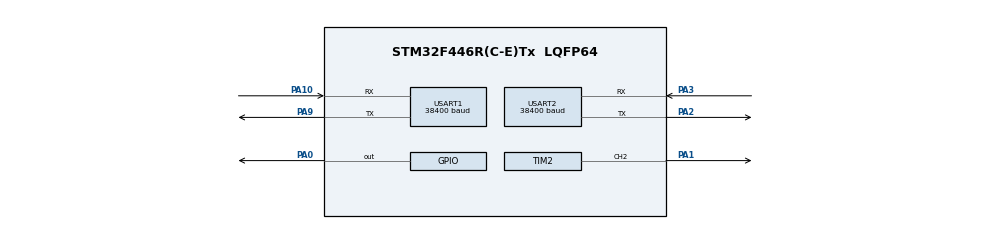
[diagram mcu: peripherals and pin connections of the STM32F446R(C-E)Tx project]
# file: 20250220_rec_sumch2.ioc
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Mcu.Family=STM32F4
Mcu.Name=STM32F446R(C-E)Tx
Mcu.Package=LQFP64
NVIC.PriorityGroup=NVIC_PRIORITYGROUP_4
PA0-WKUP.Signal=GPIO_Output
PA1.Signal=S_TIM2_CH2
PA10.Mode=Asynchronous
PA10.Signal=USART1_RX
PA2.Mode=Asynchronous
PA2.Signal=USART2_TX
PA3.Mode=Asynchronous
PA3.Signal=USART2_RX
PA9.Mode=Asynchronous
PA9.Signal=USART1_TX
ProjectManager.HeapSize=0x200
ProjectManager.StackSize=0x400
ProjectManager.TargetToolchain=STM32CubeIDE
RCC.CortexFreq_Value=16000000
RCC.USBFreq_Value=96000000
RCC.VCOOutputFreq_Value=192000000
SH.S_TIM2_CH2.0=TIM2_CH2,PWM Generation2 CH2
TIM2.Channel-PWM\ Generation2\ CH2=TIM_CHANNEL_2
TIM2.OC2Preload_PWM=DISABLE
TIM2.Period=999
TIM2.Prescaler=83
USART1.BaudRate=38400
USART1.Mode=MODE_RX
USART1.VirtualMode=VM_ASYNC
USART2.BaudRate=38400
USART2.VirtualMode=VM_ASYNC
board=custom

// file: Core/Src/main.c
/* USER CODE BEGIN Header */
/**
  ******************************************************************************
  * @file           : main.c
  * @brief          : Main program body
  ******************************************************************************
  * @attention
  *
  * Copyright (c) 2025 STMicroelectronics.
  * All rights reserved.
  *
  * This software is licensed under terms that can be found in the LICENSE file
  * in the root directory of this software component.
  * If no LICENSE file comes with this software, it is provided AS-IS.
  *
  ******************************************************************************
  */
/* USER CODE END Header */
#include "main.h"

/* USER CODE BEGIN Includes */
#include <stdio.h>

/* USER CODE END Includes */

TIM_HandleTypeDef htim2;

UART_HandleTypeDef huart1;
UART_HandleTypeDef huart2;

void SystemClock_Config(void);
static void MX_GPIO_Init(void);
static void MX_USART2_UART_Init(void);
static void MX_USART1_UART_Init(void);
static void MX_TIM2_Init(void);

/* USER CODE BEGIN 0 */
#define REV_SIZE 11
#define WAIT 10
#define TIMEOUT_MAX 10
/* USER CODE END 0 */

int main(void)
{

  /* USER CODE BEGIN 1 */
	setbuf(stdout,NULL);

  /* USER CODE END 1 */

  /* MCU Configuration--------------------------------------------------------*/

  /* Reset of all peripherals, Initializes the Flash interface and the Systick. */
  HAL_Init();

  /* Configure the system clock */
  SystemClock_Config();

  /* Initialize all configured peripherals */
  MX_GPIO_Init();
  MX_USART2_UART_Init();
  MX_USART1_UART_Init();
  MX_TIM2_Init();
  /* USER CODE BEGIN 2 */
  unsigned char revdata[REV_SIZE] = {},usedata[REV_SIZE] = {};
  unsigned char getdata,revsum;
  int timeout = 0;
  HAL_StatusTypeDef status;

  /* USER CODE END 2 */

  /* Infinite loop */
  /* USER CODE BEGIN WHILE */
  while (1)
  {
	  HAL_TIM_PWM_Start(&htim2, TIM_CHANNEL_2);
    /* USER CODE END WHILE */

    /* USER CODE BEGIN 3 */
//	  HAL_UART_GetState(huart);
	  status = HAL_UART_Receive(&huart1, &getdata, 1, WAIT);
	  if(status == HAL_OK){
		  if(getdata == 0xAF){
			  revdata[0] = getdata;
//			  status = HAL_UART_Receive(&huart1, revdata+1, 10, WAIT * 10);
			  for(int i = 1;i < REV_SIZE;i++){
				  status = HAL_UART_Receive(&huart1, &getdata, 1, WAIT);
				  if(status == HAL_OK){
					  revdata[i] = getdata;
				  }else {
					  i--;
				  }
			  }
			  if(status == HAL_OK){
				  if(revdata[10] == 0xED){
					  revsum = 0x00;
					  for(int i = 1;i < REV_SIZE -2;i++){
						  revsum += (int)revdata[i];
//						  printf("%2d-%02x ",i,revdata[i]);
					  }
					  if(revdata[9] == revsum){
						  for(int i = 0;i < REV_SIZE;i++){
							  printf("%2d:%02x ",i,revdata[i]);
							  usedata[i] = revdata[i];
						  }
					  }else {
//						  for(int i = 0;i < REV_SIZE;i++){
//							  printf("%2d:%02x ",i,revdata[i]);
//						  }
						  printf("sum is not true %02x",revsum);
					  }
				  }else {
					  for(int i = 0;i < REV_SIZE;i++){
						  printf("%2d:%02x ",i,revdata[i]);
					  }
					  printf("not END");
				  }
			  }else if(status == HAL_TIMEOUT){
//				  printf("not HAL_OK");
				  printf("timeout");
			  }else {
				  printf("not HAL_OK");
			  }

			  printf("\r\n");
		  }else {
			  printf("not af\r\n");
		  }
	  }else /*if(status == HAL_TIMEOUT)*/{
		  HAL_GPIO_TogglePin(GPIOA, GPIO_PIN_0);
		  timeout++;
		  if(timeout >= TIMEOUT_MAX){
//			  for(int i = 0;i < REV_SIZE;i++){
//				  printf("%2d:%02x ",i,revdata[i]);
//			  }
			  printf("timeout  %2d\r\n",timeout);
			  timeout = 0;
		  }
	  }
	  memset(revdata,0x00,sizeof(revdata));
	  HAL_UART_Abort(&huart1);
//	  if ( __HAL_UART_GET_FLAG(&huart1, UART_FLAG_ORE) ){
	      __HAL_UART_CLEAR_FLAG(&huart1,UART_FLAG_RXNE |UART_FLAG_ORE);
//	  }
	      __HAL_TIM_SET_COMPARE(&htim2,TIM_CHANNEL_2,usedata[1]);
  }
  /* USER CODE END 3 */
}

void SystemClock_Config(void)
{
  RCC_OscInitTypeDef RCC_OscInitStruct = {0};
  RCC_ClkInitTypeDef RCC_ClkInitStruct = {0};

  /** Configure the main internal regulator output voltage
  */
  __HAL_RCC_PWR_CLK_ENABLE();
  __HAL_PWR_VOLTAGESCALING_CONFIG(PWR_REGULATOR_VOLTAGE_SCALE3);

  /** Initializes the RCC Oscillators according to the specified parameters
  * in the RCC_OscInitTypeDef structure.
  */
  RCC_OscInitStruct.OscillatorType = RCC_OSCILLATORTYPE_HSI;
  RCC_OscInitStruct.HSIState = RCC_HSI_ON;
  RCC_OscInitStruct.HSICalibrationValue = RCC_HSICALIBRATION_DEFAULT;
  RCC_OscInitStruct.PLL.PLLState = RCC_PLL_NONE;
  if (HAL_RCC_OscConfig(&RCC_OscInitStruct) != HAL_OK)
  {
    Error_Handler();
  }

  /** Initializes the CPU, AHB and APB buses clocks
  */
  RCC_ClkInitStruct.ClockType = RCC_CLOCKTYPE_HCLK|RCC_CLOCKTYPE_SYSCLK
                              |RCC_CLOCKTYPE_PCLK1|RCC_CLOCKTYPE_PCLK2;
  RCC_ClkInitStruct.SYSCLKSource = RCC_SYSCLKSOURCE_HSI;
  RCC_ClkInitStruct.AHBCLKDivider = RCC_SYSCLK_DIV1;
  RCC_ClkInitStruct.APB1CLKDivider = RCC_HCLK_DIV1;
  RCC_ClkInitStruct.APB2CLKDivider = RCC_HCLK_DIV1;

  if (HAL_RCC_ClockConfig(&RCC_ClkInitStruct, FLASH_LATENCY_0) != HAL_OK)
  {
    Error_Handler();
  }
}

static void MX_TIM2_Init(void)
{

  TIM_MasterConfigTypeDef sMasterConfig = {0};
  TIM_OC_InitTypeDef sConfigOC = {0};

  htim2.Instance = TIM2;
  htim2.Init.Prescaler = 83;
  htim2.Init.CounterMode = TIM_COUNTERMODE_UP;
  htim2.Init.Period = 999;
  htim2.Init.ClockDivision = TIM_CLOCKDIVISION_DIV1;
  htim2.Init.AutoReloadPreload = TIM_AUTORELOAD_PRELOAD_DISABLE;
  if (HAL_TIM_PWM_Init(&htim2) != HAL_OK)
  {
    Error_Handler();
  }
  sMasterConfig.MasterOutputTrigger = TIM_TRGO_RESET;
  sMasterConfig.MasterSlaveMode = TIM_MASTERSLAVEMODE_DISABLE;
  if (HAL_TIMEx_MasterConfigSynchronization(&htim2, &sMasterConfig) != HAL_OK)
  {
    Error_Handler();
  }
  sConfigOC.OCMode = TIM_OCMODE_PWM1;
  sConfigOC.Pulse = 0;
  sConfigOC.OCPolarity = TIM_OCPOLARITY_HIGH;
  sConfigOC.OCFastMode = TIM_OCFAST_DISABLE;
  if (HAL_TIM_PWM_ConfigChannel(&htim2, &sConfigOC, TIM_CHANNEL_2) != HAL_OK)
  {
    Error_Handler();
  }
  __HAL_TIM_DISABLE_OCxPRELOAD(&htim2, TIM_CHANNEL_2);
  HAL_TIM_MspPostInit(&htim2);

}

static void MX_USART1_UART_Init(void)
{

  huart1.Instance = USART1;
  huart1.Init.BaudRate = 38400;
  huart1.Init.WordLength = UART_WORDLENGTH_8B;
  huart1.Init.StopBits = UART_STOPBITS_1;
  huart1.Init.Parity = UART_PARITY_NONE;
  huart1.Init.Mode = UART_MODE_RX;
  huart1.Init.HwFlowCtl = UART_HWCONTROL_NONE;
  huart1.Init.OverSampling = UART_OVERSAMPLING_16;
  if (HAL_UART_Init(&huart1) != HAL_OK)
  {
    Error_Handler();
  }

}

static void MX_USART2_UART_Init(void)
{

  huart2.Instance = USART2;
  huart2.Init.BaudRate = 38400;
  huart2.Init.WordLength = UART_WORDLENGTH_8B;
  huart2.Init.StopBits = UART_STOPBITS_1;
  huart2.Init.Parity = UART_PARITY_NONE;
  huart2.Init.Mode = UART_MODE_TX_RX;
  huart2.Init.HwFlowCtl = UART_HWCONTROL_NONE;
  huart2.Init.OverSampling = UART_OVERSAMPLING_16;
  if (HAL_UART_Init(&huart2) != HAL_OK)
  {
    Error_Handler();
  }

}

static void MX_GPIO_Init(void)
{
  GPIO_InitTypeDef GPIO_InitStruct = {0};

  /* GPIO Ports Clock Enable */
  __HAL_RCC_GPIOA_CLK_ENABLE();

  /*Configure GPIO pin Output Level */
  HAL_GPIO_WritePin(GPIOA, GPIO_PIN_0, GPIO_PIN_RESET);

  /*Configure GPIO pin : PA0 */
  GPIO_InitStruct.Pin = GPIO_PIN_0;
  GPIO_InitStruct.Mode = GPIO_MODE_OUTPUT_PP;
  GPIO_InitStruct.Pull = GPIO_NOPULL;
  GPIO_InitStruct.Speed = GPIO_SPEED_FREQ_LOW;
  HAL_GPIO_Init(GPIOA, &GPIO_InitStruct);

}

/* USER CODE BEGIN 4 */
int _write(int file,char *ptr,int len){
	HAL_UART_Transmit(&huart2, (uint8_t *)ptr, len, WAIT);
	return len;
}

/* USER CODE END 4 */

void Error_Handler(void)
{
  __disable_irq();
  while (1)
  {
  }
}
